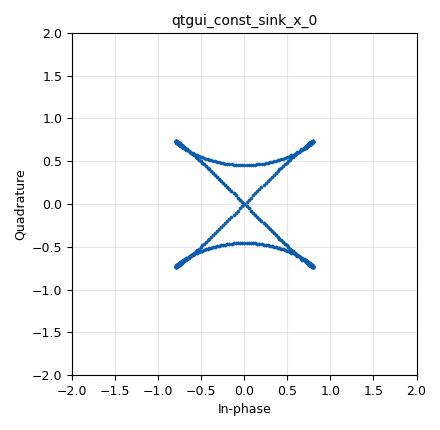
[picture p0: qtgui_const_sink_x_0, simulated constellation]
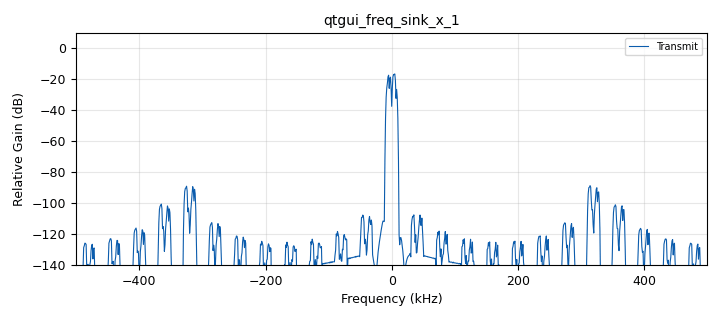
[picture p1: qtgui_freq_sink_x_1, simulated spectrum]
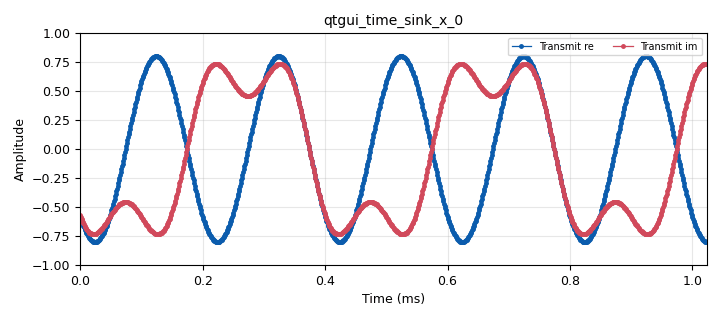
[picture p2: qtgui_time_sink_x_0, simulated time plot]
options:
  parameters:
    author: ankur
    generate_options: qt_gui
    id: qpsk_root_raised
    output_language: python
    title: Not titled yet
  states: {}

blocks:
- name: alpha
  id: variable
  parameters:
    comment: |-
      Can't change alpha in real time
      for Consteallation Modulator
    value: '0.95'
  states: {}
- name: center_freq
  id: variable
  parameters:
    value: 915e6
  states: {}
- name: constellation
  id: variable_constellation
  parameters:
    precision: '8'
    type: qpsk
  states: {}
- name: nfilts
  id: variable
  parameters:
    value: '32'
  states: {}
- name: output_sps
  id: variable
  parameters:
    value: '1'
  states: {}
- name: rcc_taps
  id: variable_rrc_filter_taps
  parameters:
    alpha: alpha
    comment: |-
      Gain: nfilts
      Sample Rate: nfilts*samp_rate
      Symbol Rate: samp_rate/sps
      Excess BW: alpha
      Num Taps: 11*sps*nfilts
    gain: nfilts
    ntaps: 11*sps*nfilts
    samp_rate: nfilts*samp_rate
    sym_rate: samp_rate/sps
  states: {}
- name: samp_rate
  id: variable
  parameters:
    value: '1000000'
  states: {}
- name: sps
  id: variable
  parameters:
    value: '100'
  states: {}
- name: tx_attenuation
  id: variable_qtgui_range
  parameters:
    start: '0'
    step: '1'
    stop: '100'
    value: '10'
  states: {}
- name: blocks_multiply_const_vxx_0
  id: blocks_multiply_const_vxx
  parameters:
    comment: |-
      Keep the signal from going
      above +1 or below -1
    const: '0.4'
    type: complex
  states: {}
- name: blocks_unpacked_to_packed_xx_0_0
  id: blocks_unpacked_to_packed_xx
  parameters:
    bits_per_chunk: constellation.bits_per_symbol()
    endianness: gr.GR_MSB_FIRST
    type: byte
  states: {}
- name: blocks_vector_source_x_0
  id: blocks_vector_source_x
  parameters:
    repeat: 'True'
    type: byte
    vector: (0, 1, 2, 3)
  states: {}
- name: digital_chunks_to_symbols_xx_0
  id: digital_chunks_to_symbols_xx
  parameters:
    dimension: '1'
    in_type: byte
    out_type: complex
    symbol_table: (-1-1j,-1+1j,1-1j,1+1j)
  states: {state: disabled}
- name: digital_constellation_modulator_0
  id: digital_constellation_modulator
  parameters:
    comment: |-
      Unpack bytes into chunks of bits,
      look up constellation symbol,
      and apply RRC filter
    constellation: constellation
    differential: 'False'
    excess_bw: alpha
    samples_per_symbol: sps
  states: {}
- name: digital_costas_loop_cc_0
  id: digital_costas_loop_cc
  parameters:
    order: constellation.arity()
    w: 2*math.pi/50
  states: {}
- name: iio_pluto_sink_0
  id: iio_pluto_sink
  parameters:
    attenuation1: int(tx_attenuation)
    bandwidth: int(samp_rate)
    buffer_size: '32768'
    cyclic: 'False'
    filter_source: '''Auto'''
    frequency: int(center_freq)
    samplerate: samp_rate
    type: fc32
    uri: 192.168.1.10
  states: {}
- name: iio_pluto_source_0
  id: iio_pluto_source
  parameters:
    bandwidth: '20000000'
    bbdc: 'True'
    buffer_size: '32768'
    filter_source: '''Auto'''
    frequency: int(center_freq)
    gain1: '''slow_attack'''
    quadrature: 'True'
    rfdc: 'True'
    samplerate: samp_rate
    type: fc32
    uri: 192.168.1.10
  states: {}
- name: import_0
  id: import
  parameters:
    imports: import math
  states: {}
- name: qtgui_const_sink_x_0
  id: qtgui_const_sink_x
  parameters:
    gui_hint: 1,0
    size: '1024'
    type: complex
  states: {}
- name: qtgui_const_sink_x_0_0
  id: qtgui_const_sink_x
  parameters:
    gui_hint: 3,0
    size: '1024'
    type: complex
  states: {}
- name: qtgui_freq_sink_x_0_1
  id: qtgui_freq_sink_x
  parameters:
    bw: samp_rate
    fc: '0'
    fftsize: '1024'
    gui_hint: 2,1
    type: complex
  states: {}
- name: qtgui_freq_sink_x_1
  id: qtgui_freq_sink_x
  parameters:
    bw: samp_rate
    fc: '0'
    fftsize: '1024'
    gui_hint: 0,1
    label1: Transmit
    type: complex
  states: {}
- name: qtgui_sink_x_0
  id: qtgui_sink_x
  parameters:
    bw: samp_rate
    fc: '0'
    fftsize: '1024'
    type: complex
  states: {state: disabled}
- name: qtgui_time_sink_x_0
  id: qtgui_time_sink_x
  parameters:
    gui_hint: 0,0
    label1: Transmit re
    label2: Transmit im
    marker1: '0'
    marker2: '0'
    size: '1024'
    srate: samp_rate
    type: complex
  states: {}
- name: qtgui_time_sink_x_0_1
  id: qtgui_time_sink_x
  parameters:
    gui_hint: 2,0
    size: 1024*8
    srate: samp_rate
    type: complex
  states: {}

connections:
- [blocks_multiply_const_vxx_0, '0', iio_pluto_sink_0, '0']
- [blocks_multiply_const_vxx_0, '0', qtgui_const_sink_x_0, '0']
- [blocks_multiply_const_vxx_0, '0', qtgui_freq_sink_x_1, '0']
- [blocks_multiply_const_vxx_0, '0', qtgui_time_sink_x_0, '0']
- [blocks_unpacked_to_packed_xx_0_0, '0', digital_constellation_modulator_0, '0']
- [blocks_vector_source_x_0, '0', blocks_unpacked_to_packed_xx_0_0, '0']
- [digital_chunks_to_symbols_xx_0, '0', qtgui_sink_x_0, '0']
- [digital_constellation_modulator_0, '0', blocks_multiply_const_vxx_0, '0']
- [digital_costas_loop_cc_0, '0', qtgui_const_sink_x_0_0, '0']
- [digital_costas_loop_cc_0, '0', qtgui_freq_sink_x_0_1, '0']
- [digital_costas_loop_cc_0, '0', qtgui_time_sink_x_0_1, '0']
- [iio_pluto_source_0, '0', digital_costas_loop_cc_0, '0']

metadata:
  file_format: 1
